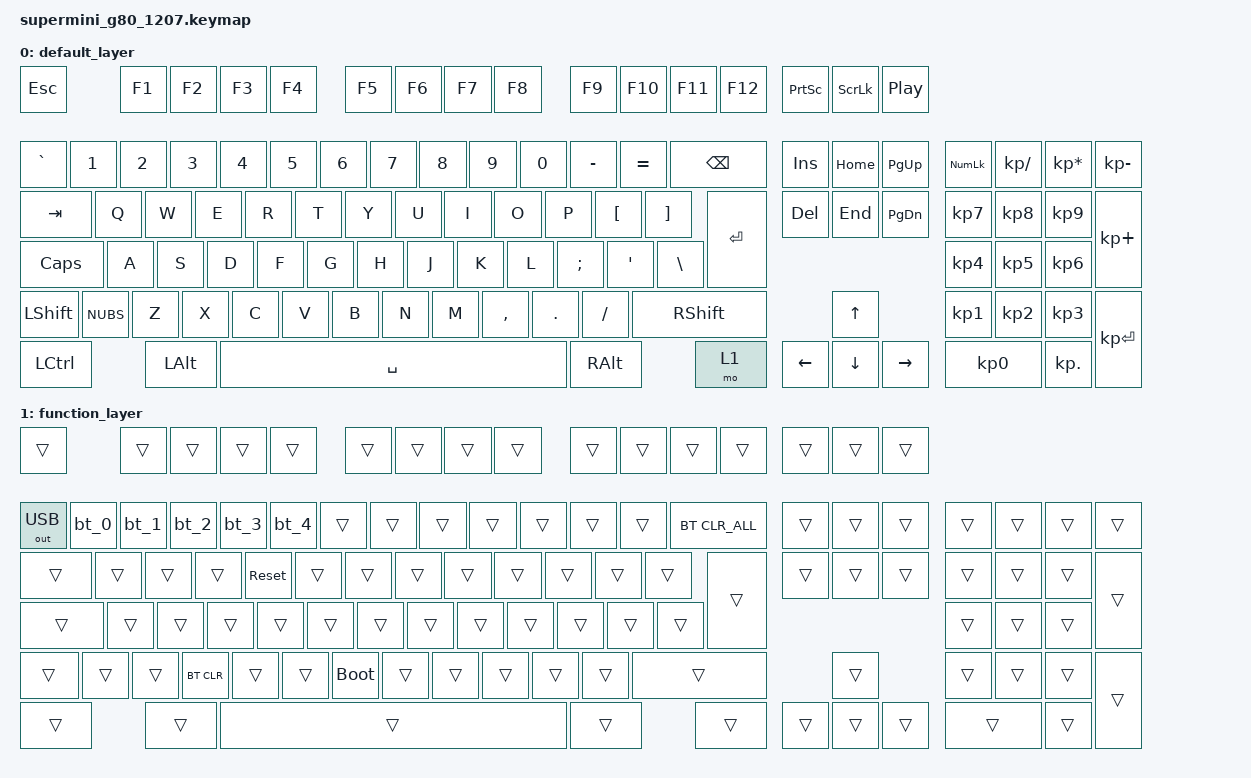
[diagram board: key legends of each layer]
/*
 * Copyright (c) 2020 The ZMK Contributors
 *
 * SPDX-License-Identifier: MIT
 */

#include <behaviors.dtsi>
#include <dt-bindings/zmk/keys.h>
#include <dt-bindings/zmk/bt.h>
#include <dt-bindings/zmk/ext_power.h>
#include <dt-bindings/zmk/outputs.h>

#define SELUSB &out OUT_USB
#define BLECLR &bt BT_CLR
#define BLECLA &bt BT_CLR_ALL

#define RESET &sys_reset
#define BOOT &bootloader

/ {

    macros {

        supermini_g80_1207_by_deemen17: select_deemen17_for_unlimited {
            display-name = "@SUPPERMINI G80-1207 by DEEMEN17 WORKS";
            compatible = "zmk,behavior-macro";
            #binding-cells = <0>;
            bindings
                = <&kp D>,
                  <&kp E>,
                  <&kp E>,
                  <&kp M>,
                  <&kp E>,
                  <&kp N>,
                  <&kp N1>,
                  <&kp N7>;
        };

        tutor_0: select_tutorial_0 {
            display-name = "!!! Select Key Press to choose keyboard input !!!";
            compatible = "zmk,behavior-macro";
            #binding-cells = <0>;
            bindings
                = <&kp D>,
                  <&kp E>,
                  <&kp E>,
                  <&kp M>,
                  <&kp E>,
                  <&kp N>,
                  <&kp N1>,
                  <&kp N7>;
        };

        bt_0: select_bluetooth_0 {
            display-name = "Select Bluetooth Profile 0";
            compatible = "zmk,behavior-macro";
            #binding-cells = <0>;
            bindings
                = <&out OUT_BLE>,
                  <&bt BT_SEL 0>;
        };

        bt_1: select_bluetooth_1 {
            display-name = "Select Bluetooth Profile 1";
            compatible = "zmk,behavior-macro";
            #binding-cells = <0>;
            bindings
                = <&out OUT_BLE>,
                  <&bt BT_SEL 1>;
        };

        bt_2: select_bluetooth_2 {
            display-name = "Select Bluetooth Profile 2";
            compatible = "zmk,behavior-macro";
            #binding-cells = <0>;
            bindings
                = <&out OUT_BLE>,
                  <&bt BT_SEL 2>;
        };

        bt_3: select_bluetooth_3 {
            display-name = "Select Bluetooth Profile 3";
            compatible = "zmk,behavior-macro";
            #binding-cells = <0>;
            bindings
                = <&out OUT_BLE>,
                  <&bt BT_SEL 3>;
        };

        bt_4: select_bluetooth_4 {
            display-name = "Select Bluetooth Profile 4";
            compatible = "zmk,behavior-macro";
            #binding-cells = <0>;
            bindings
                = <&out OUT_BLE>,
                  <&bt BT_SEL 4>;
        };
    };

    keymap {
        compatible = "zmk,keymap";

        default_layer {
            bindings = <
&kp ESC            &kp F1   &kp F2   &kp F3    &kp F4    &kp F5    &kp F6    &kp F7    &kp F8    &kp F9    &kp F10   &kp F11   &kp F12        &kp PSCRN  &kp SLCK   &kp C_PP

&kp GRAVE &kp N1   &kp N2   &kp N3   &kp N4    &kp N5    &kp N6    &kp N7    &kp N8    &kp N9    &kp N0    &kp MINUS &kp EQUAL &kp BSPC       &kp INS    &kp HOME   &kp PG_UP     &kp KP_NUM &kp KP_DIVIDE &kp KP_MULTIPLY &kp KP_MINUS
&kp TAB   &kp Q    &kp W    &kp E    &kp R     &kp T     &kp Y     &kp U     &kp I     &kp O     &kp P     &kp LBKT  &kp RBKT  &kp ENTER      &kp DEL    &kp END    &kp PG_DN     &kp KP_N7  &kp KP_N8     &kp KP_N9       &kp KP_PLUS
&kp CAPS  &kp A    &kp S    &kp D    &kp F     &kp G     &kp H     &kp J     &kp K     &kp L     &kp SEMI  &kp APOS  &kp BSLH                                                     &kp KP_N4  &kp KP_N5     &kp KP_N6      
&kp LSHFT &kp NUBS &kp Z    &kp X    &kp C     &kp V     &kp B     &kp N     &kp M     &kp COMMA &kp DOT   &kp FSLH  &kp RSHFT                           &kp UP                   &kp KP_N1  &kp KP_N2     &kp KP_N3       &kp KP_ENTER
&kp LCTRL          &kp LALT                                    &kp SPACE                                   &kp RALT            &mo 1          &kp LEFT   &kp DOWN   &kp RIGHT     &kp KP_N0  &kp KP_DOT
            >;

        };

        function_layer {
            bindings = <
&trans             &trans   &trans   &trans    &trans    &trans    &trans    &trans    &trans    &trans    &trans    &trans    &trans         &trans    &trans    &trans

SELUSB    &bt_0    &bt_1    &bt_2    &bt_3     &bt_4     &trans    &trans    &trans    &trans    &trans    &trans    &trans    BLECLA         &trans    &trans    &trans          &trans    &trans    &trans    &trans 
&trans    &trans   &trans   &trans   RESET     &trans    &trans    &trans    &trans    &trans    &trans    &trans    &trans    &trans         &trans    &trans    &trans          &trans    &trans    &trans    &trans 
&trans    &trans   &trans   &trans   &trans    &trans    &trans    &trans    &trans    &trans    &trans    &trans    &trans                                                       &trans    &trans    &trans 
&trans    &trans   &trans   BLECLR   &trans    &trans    BOOT      &trans    &trans    &trans    &trans    &trans    &trans                             &trans                    &trans    &trans    &trans    &trans
&trans             &trans                                          &trans                                  &trans              &trans         &trans    &trans    &trans          &trans    &trans 
            >;
        };

    };
};
